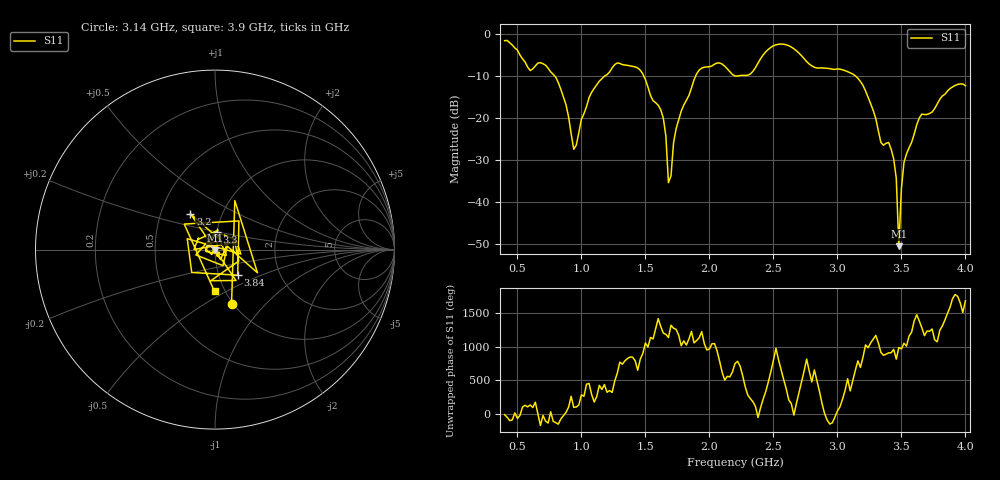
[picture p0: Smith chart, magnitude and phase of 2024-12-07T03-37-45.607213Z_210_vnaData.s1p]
!Created with skrf (http://scikit-rf.org).
# Hz S RI R 50.0
!freq ReS11 ImS11
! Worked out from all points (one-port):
!   181 points, 400 MHz to 4 GHz, reference 50 ohm
!   lowest |S11| = -50.4 dB at 3.48 GHz (marker M1), VSWR 1.01, Z = 50 - j0.301 ohm
!   |S11| at or under -10 dB: 788.9 MHz to 1.187 GHz (397.7 MHz wide, 40.3 % of centre); 1.486 GHz to 1.894 GHz (407.7 MHz wide, 24.1 % of centre); 3.139 GHz to end of sweep (the widest 3 of 4)
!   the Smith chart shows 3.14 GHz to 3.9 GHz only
!   S11 on the Smith chart (normalised r, x): 3.14 GHz: 0.98, -0.66; 3.2 GHz: 0.71, +0.30; 3.3 GHz: 1.00, +0.20; 3.84 GHz: 1.23, -0.36; 3.9 GHz: 0.89, -0.44
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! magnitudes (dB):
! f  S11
! 400 MHz  -1.7
! 600 MHz  -8.8
! 720 MHz  -7.5
! 860 MHz  -15.1
! 940 MHz  -27.4
! 1.08 GHz  -13.9
! 1.3 GHz  -7.1
! 1.46 GHz  -8.7
! 1.62 GHz  -18.1
! 1.66 GHz  -24.3
! 1.68 GHz  -35.4
! 1.76 GHz  -20.5
! 1.94 GHz  -8.2
! 2.2 GHz  -10.1
! 2.66 GHz  -3.6
! 3.1 GHz  -9.3
! 3.14 GHz  -10.0
! 3.2 GHz  -12.3
! 3.3 GHz  -20.2
! 3.44 GHz  -29.8
! 3.46 GHz  -34.3
! 3.48 GHz  -50.4
! 3.5 GHz  -36.8
! 3.52 GHz  -30.6
! 3.56 GHz  -27.1
! 3.84 GHz  -14.4
! 3.9 GHz  -12.7
! 4 GHz  -12.4
